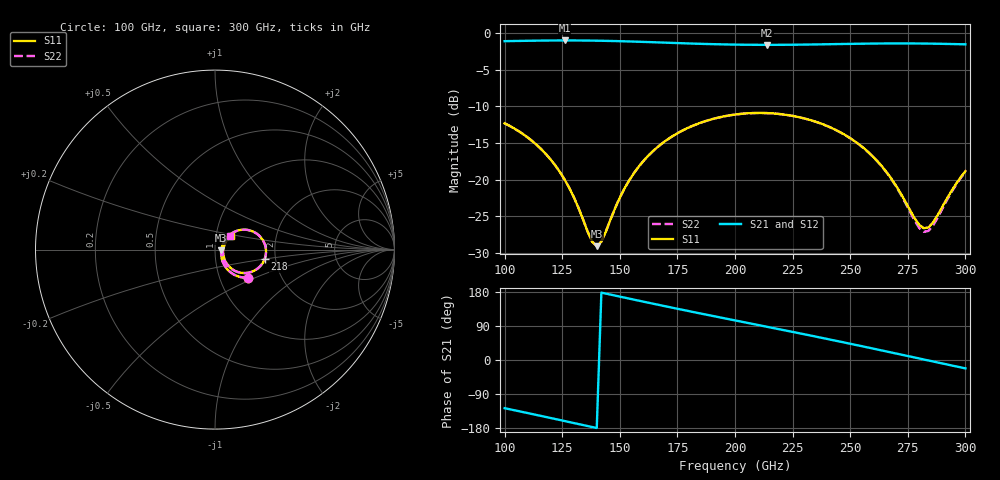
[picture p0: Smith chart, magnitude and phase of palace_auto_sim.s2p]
#  GHZ S DB R 50
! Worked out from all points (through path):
!   101 points, 100 GHz to 300 GHz, reference 50 ohm
!   highest |S21| = -1.02 dB at 126 GHz (marker M1); lowest = -1.6 dB at 214 GHz (marker M2)
!   group delay of S21, straight-line fit = 3.51 ps
!   lowest |S11| = -29.1 dB at 140 GHz (marker M3), VSWR 1.07, Z = 53.6 - j0.419 ohm
!   |S11| at or under -10 dB: start of sweep to end of sweep
!   |S22| runs from -29.1 to -10.9 dB; largest |S21 - S12| = 9.8e-14
!   S11 on the Smith chart (normalised r, x): 100 GHz: 1.37, -0.45; 218 GHz: 1.75, -0.21; 300 GHz: 1.17, +0.18
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100  -12.33 -40.3  -1.12 -127.2  -1.12 -127.2  -12.33 -40.2
114  -15.30 -53.3  -1.05 -145.2  -1.05 -145.2  -15.30 -53.2
126  -19.98 -59.1  -1.02 -161.0  -1.02 -161.0  -19.98 -58.9
134  -25.42 -48.4  -1.03 -171.6  -1.03 -171.6  -25.40 -48.2
138  -28.51 -25.1  -1.04 -176.9  -1.04 -176.9  -28.48 -24.9
140  -29.10 -6.4  -1.05 -179.5  -1.05 -179.5  -29.06 -6.3
142  -28.49 12.2  -1.06 177.8  -1.06 177.8  -28.46 12.2
150  -22.49 43.5  -1.12 167.3  -1.12 167.3  -22.48 43.4
154  -20.16 45.6  -1.15 162.1  -1.15 162.1  -20.15 45.6
160  -17.56 44.0  -1.21 154.3  -1.21 154.3  -17.56 44.0
168  -15.16 38.4  -1.30 144.0  -1.30 144.0  -15.16 38.5
184  -12.37 23.6  -1.47 124.0  -1.47 124.0  -12.38 23.6
200  -11.13 7.4  -1.59 104.5  -1.59 104.5  -11.14 7.4
214  -10.94 -7.0  -1.62 87.5  -1.62 87.5  -10.94 -7.0
218  -11.02 -11.1  -1.62 82.7  -1.62 82.7  -11.02 -11.2
234  -12.01 -27.3  -1.57 63.0  -1.57 63.0  -12.02 -27.4
254  -15.24 -45.2  -1.47 37.8  -1.47 37.8  -15.26 -45.6
268  -19.94 -49.9  -1.43 19.6  -1.43 19.6  -20.02 -50.8
278  -25.31 -30.7  -1.43 6.5  -1.43 6.5  -25.63 -31.9
282  -26.66 -8.2  -1.44 1.3  -1.44 1.3  -27.15 -8.4
286  -25.85 16.0  -1.46 -3.9  -1.46 -3.9  -26.27 17.4
300  -18.86 40.7  -1.55 -22.1  -1.55 -22.1  -18.96 42.4
